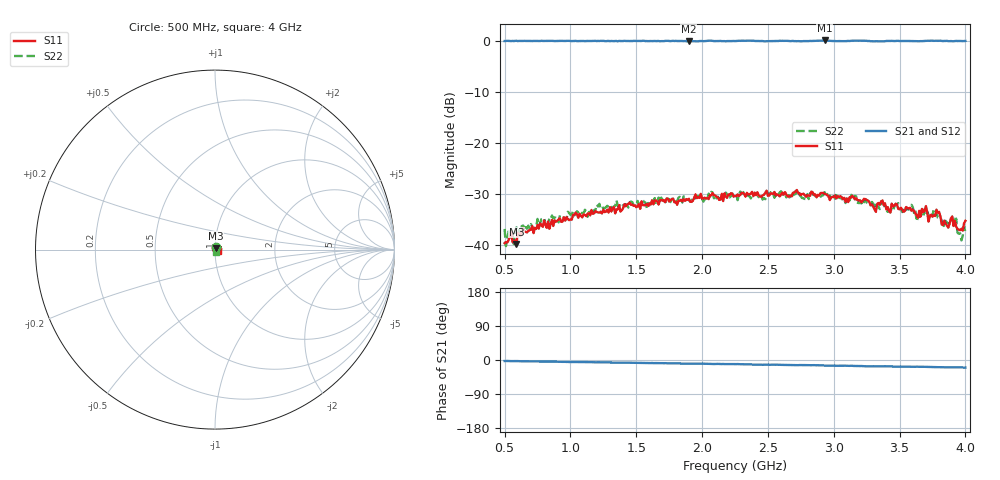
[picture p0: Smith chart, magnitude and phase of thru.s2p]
!Agilent Technologies,E8363C,MY49030273,A.09.42.18
!Agilent E8363C: A.09.42.18
!Date: Tuesday, May 03, 2022 03:58:37
!Correction: S11(Full 2 Port(1,2))
!S21(Full 2 Port(1,2))
!S12(Full 2 Port(1,2))
!S22(Full 2 Port(1,2))
!S2P File: Measurements: S11, S21, S12, S22:
!Created with skrf (http://scikit-rf.org).
# GHz S RI R 50.0
!freq ReS11 ImS11 ReS21 ImS21 ReS12 ImS12 ReS22 ImS22
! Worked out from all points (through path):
!   351 points, 500 MHz to 4 GHz, reference 50 ohm
!   highest |S21| = 0.06 dB at 2.93 GHz (marker M1); lowest = -0.1 dB at 1.9 GHz (marker M2)
!   group delay of S21, straight-line fit = 13.7 ps
!   lowest |S11| = -39.8 dB at 590 MHz (marker M3), VSWR 1.02, Z = 50.4 + j0.934 ohm
!   |S11| at or under -10 dB: start of sweep to end of sweep
!   |S22| runs from -40.2 to -29.5 dB; largest |S21 - S12| = 0.017
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0.5  0.00778 0.00693  0.9936 -0.0467  0.9962 -0.0452  0.00628 0.0129
0.51  0.0031 0.0102  0.9964 -0.0438  0.9952 -0.0447  0.00316 0.00922
0.55  0.00566 0.0121  0.9915 -0.0511  0.992 -0.0485  0.00783 0.012
0.57  0.00415 0.00971  0.9924 -0.0516  0.9998 -0.0509  0.00434 0.00921
0.59  0.00433 0.00926  0.9996 -0.0536  0.9973 -0.0503  0.00951 0.0115
0.64  0.00787 0.0125  0.9941 -0.0565  0.9959 -0.0611  0.00644 0.0141
1.09  0.0121 0.0142  0.9898 -0.0945  0.989 -0.0949  0.0136 0.0156
1.67  0.0204 0.0143  0.9851 -0.1445  0.9848 -0.144  0.0223 0.0187
1.9  0.0243 0.0147  0.9711 -0.1612  0.9837 -0.1621  0.0238 0.0135
2.25  0.0285 0.01  0.975 -0.1877  0.9771 -0.189  0.0284 0.00929
2.84  0.0325 0.00514  0.9683 -0.2353  0.9648 -0.2438  0.0309 -0.00423
2.93  0.0317 0.00182  0.9737 -0.2574  0.9637 -0.248  0.0324 -0.00579
3.42  0.0212 -0.00434  0.956 -0.285  0.9568 -0.2859  0.0199 -0.0074
3.59  0.021 -0.00545  0.9462 -0.3079  0.9465 -0.2996  0.0219 -0.0115
3.63  0.018 -0.00717  0.9429 -0.3008  0.9462 -0.3045  0.0163 -0.00491
3.7  0.0229 -0.00726  0.949 -0.3103  0.9411 -0.3123  0.0173 -0.00984
3.72  0.0149 -0.0081  0.9495 -0.3104  0.9405 -0.3097  0.0173 -0.00949
3.76  0.0179 -0.00813  0.9443 -0.3239  0.9439 -0.3171  0.0178 -0.014
3.84  0.0157 -0.00739  0.941 -0.3279  0.9413 -0.3266  0.0127 -0.00762
3.93  0.0137 -0.00643  0.939 -0.3357  0.9351 -0.3314  0.0163 -0.00782
3.97  0.0134 -0.00526  0.9379 -0.3339  0.9364 -0.3333  0.00821 -0.00746
4  0.015 -0.00839  0.9371 -0.341  0.9336 -0.3395  0.00803 -0.0107
